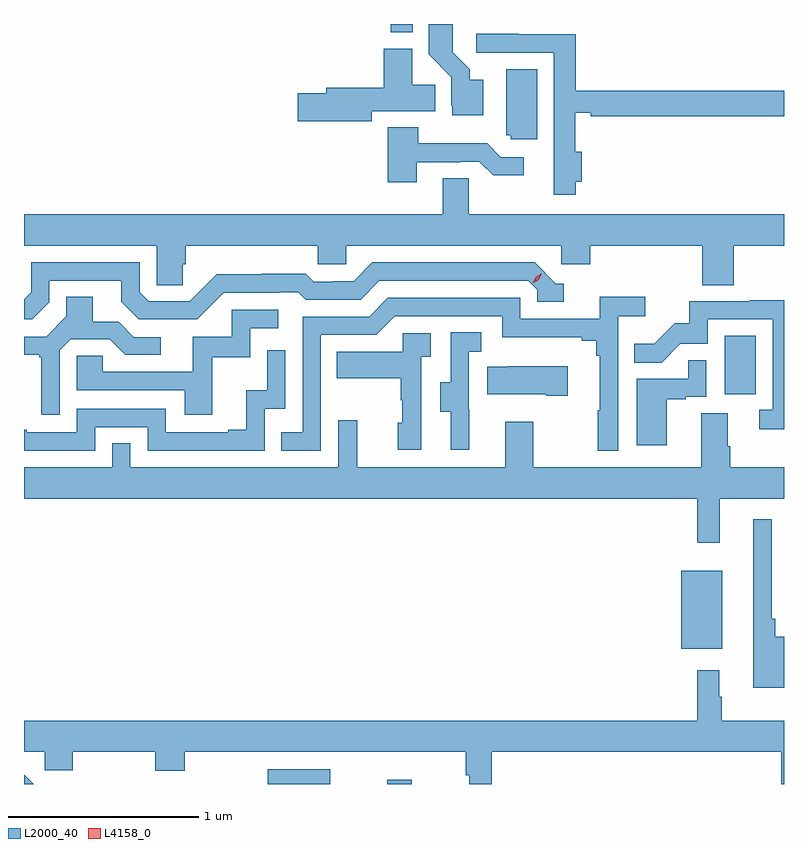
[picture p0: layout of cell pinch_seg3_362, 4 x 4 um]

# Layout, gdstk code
import gdstk
lib = gdstk.Library(unit=1e-6, precision=1e-09)
def R(c, l, rs):  # rectangles x0, y0, x1, y1
    for r in rs: c.add(gdstk.rectangle(r[:2], r[2:], *l))
def P(c, l, *ps):  # polygons
    for p in ps: c.add(gdstk.Polygon(p, *l))
L2000_40 = (2000, 40)
L4158_0 = (4158, 0)

pinch_seg3_362 = lib.new_cell('pinch_seg3_362')
R(pinch_seg3_362, L2000_40, [(995.679,695.418,996.007,695.496), (996.308,695.418,996.438,695.44), (997.856,696.131,998.071,696.541), (998.084,697.47,998.248,697.777), (996.325,699.374,996.441,699.418)])
P(pinch_seg3_362, L2000_40, [(996.814,699.124),(996.742,699.124),(996.742,699.179),(996.652,699.269),(996.652,699.418),(996.526,699.418),(996.526,699.258),(996.645,699.139),(996.645,698.988),(996.65,698.988),(996.65,698.939),(996.814,698.939)],
  [(997.301,698.588),(997.331,698.588),(997.331,698.746),(997.297,698.746),(997.297,698.951),(997.378,698.951),(997.378,698.932),(998.396,698.932),(998.396,699.068),(997.301,699.068),(997.301,699.363),(997.001,699.363),(997.001,699.366),(996.777,699.366),(996.777,699.267),(997.185,699.267),(997.185,698.742),(997.184,698.742),(997.184,698.52),(997.301,698.52)],
  [(996.226,698.96),(996.56,698.96),(996.56,699.098),(996.439,699.098),(996.439,699.289),(996.29,699.289),(996.29,699.083),(995.987,699.083),(995.987,699.053),(995.838,699.053),(995.838,698.906),(996.226,698.906)],
  [(997.096,699.181),(996.935,699.181),(996.935,698.832),(996.957,698.832),(996.957,698.811),(997.096,698.811)],
  [(996.463,698.691),(996.692,698.691),(996.692,698.694),(996.792,698.694),(996.865,698.621),(997.027,698.621),(997.027,698.718),(996.906,698.718),(996.833,698.791),(996.471,698.791),(996.471,698.875),(996.311,698.875),(996.311,698.586),(996.463,698.586)],
  [(995.231,698.154),(995.246,698.154),(995.246,698.252),(995.943,698.252),(995.943,698.154),(996.093,698.154),(996.093,698.252),(997.224,698.252),(997.224,698.154),(997.376,698.154),(997.376,698.252),(997.967,698.252),(997.967,698.044),(998.132,698.044),(998.132,698.252),(998.396,698.252),(998.396,698.416),(996.738,698.416),(996.738,698.606),(996.599,698.606),(996.599,698.416),(994.396,698.416),(994.396,698.252),(995.094,698.252),(995.094,698.044),(995.231,698.044)],
  [(994.53,697.953),(994.53,698.067),(994.907,698.067),(994.907,697.957),(995.001,697.863),(995.307,697.863),(995.448,698.004),(995.741,698.004),(995.741,698.007),(995.84,698.007),(995.879,697.968),(996.168,697.968),(996.267,698.067),(997.05,698.067),(997.098,698.019),(997.098,697.956),(997.237,697.956),(997.237,698.052),(997.194,698.052),(997.083,698.163),(996.23,698.163),(996.131,698.064),(996.024,698.064),(996.024,698.061),(995.921,698.061),(995.879,698.104),(995.646,698.104),(995.646,698.101),(995.41,698.101),(995.268,697.959),(995.052,697.959),(995.004,698.007),(995.004,698.163),(994.434,698.163),(994.434,698.007),(994.396,697.969),(994.396,697.863),(994.44,697.863)],
  [(994.584,697.701),(994.641,697.758),(994.847,697.758),(994.928,697.677),(995.116,697.677),(995.116,697.77),(994.974,697.77),(994.894,697.85),(994.759,697.85),(994.759,697.982),(994.619,697.982),(994.619,697.88),(994.512,697.773),(994.396,697.773),(994.396,697.676),(994.476,697.676),(994.476,697.665),(994.487,697.665),(994.487,697.362),(994.584,697.362)],
  [(995.958,697.782),(996.249,697.782),(996.348,697.881),(996.912,697.881),(996.912,697.769),(997.331,697.769),(997.331,697.75),(997.408,697.75),(997.408,697.673),(997.427,697.673),(997.427,697.385),(997.416,697.385),(997.416,697.173),(997.524,697.173),(997.524,697.88),(997.666,697.88),(997.666,697.982),(997.427,697.982),(997.427,697.866),(997.008,697.866),(997.008,697.977),(996.311,697.977),(996.212,697.878),(995.862,697.878),(995.862,697.269),(995.749,697.269),(995.749,697.173),(995.958,697.173)],
  [(998.396,697.964),(998.215,697.964),(998.215,697.959),(997.897,697.959),(997.897,697.842),(997.82,697.842),(997.713,697.735),(997.609,697.735),(997.609,697.636),(997.753,697.636),(997.851,697.734),(997.995,697.734),(997.995,697.863),(998.337,697.863),(998.337,697.389),(998.265,697.389),(998.265,697.284),(998.396,697.284)],
  [(995.387,697.665),(995.586,697.665),(995.586,697.818),(995.734,697.818),(995.734,697.914),(995.49,697.914),(995.49,697.773),(995.285,697.773),(995.285,697.587),(994.811,697.587),(994.811,697.671),(994.674,697.671),(994.674,697.491),(995.243,697.491),(995.243,697.362),(995.387,697.362)],
  [(996.74,697.389),(996.738,697.389),(996.738,697.693),(996.802,697.693),(996.802,697.796),(996.642,697.796),(996.642,697.533),(996.587,697.533),(996.587,697.378),(996.641,697.378),(996.641,697.176),(996.74,697.176)],
  [(996.486,697.667),(996.538,697.667),(996.538,697.791),(996.39,697.791),(996.39,697.693),(996.043,697.693),(996.043,697.553),(996.378,697.553),(996.378,697.439),(996.388,697.439),(996.388,697.32),(996.362,697.32),(996.362,697.176),(996.486,697.176)],
  [(994.77,697.296),(995.046,697.296),(995.046,697.173),(995.664,697.173),(995.664,697.392),(995.772,697.392),(995.772,697.702),(995.676,697.702),(995.676,697.49),(995.567,697.49),(995.567,697.282),(995.471,697.282),(995.471,697.269),(995.142,697.269),(995.142,697.392),(994.674,697.392),(994.674,697.269),(994.411,697.269),(994.411,697.282),(994.396,697.282),(994.396,697.173),(994.77,697.173)],
  [(997.78,697.443),(997.88,697.443),(997.88,697.455),(997.986,697.455),(997.986,697.649),(997.891,697.649),(997.891,697.551),(997.622,697.551),(997.622,697.2),(997.78,697.2)],
  [(997.258,697.618),(996.943,697.618),(996.943,697.615),(996.835,697.615),(996.835,697.469),(997.145,697.469),(997.145,697.462),(997.258,697.462)],
  [(998.101,697.196),(998.101,697.37),(997.961,697.37),(997.961,697.084),(997.077,697.084),(997.077,697.324),(996.929,697.324),(996.929,697.084),(996.149,697.084),(996.149,697.333),(996.051,697.333),(996.051,697.084),(994.956,697.084),(994.956,697.211),(994.86,697.211),(994.86,697.084),(994.396,697.084),(994.396,696.92),(997.939,696.92),(997.939,696.687),(998.057,696.687),(998.057,696.92),(998.396,696.92),(998.396,697.084),(998.114,697.084),(998.114,697.196)],
  [(998.396,696.193),(998.351,696.193),(998.351,696.289),(998.331,696.289),(998.331,696.811),(998.234,696.811),(998.234,695.924),(998.396,695.924)],
  [(996.857,695.588),(998.381,695.588),(998.381,695.418),(998.396,695.418),(998.396,695.752),(998.068,695.752),(998.068,695.876),(998.056,695.876),(998.056,696.016),(997.939,696.016),(997.939,695.752),(994.396,695.752),(994.396,695.588),(994.506,695.588),(994.506,695.49),(994.653,695.49),(994.653,695.588),(995.086,695.588),(995.086,695.489),(995.241,695.489),(995.241,695.588),(996.721,695.588),(996.721,695.465),(996.74,695.465),(996.74,695.418),(996.857,695.418)],
  [(994.396,695.468),(994.396,695.418),(994.446,695.418)])
P(pinch_seg3_362, L4158_0, [(997.074,698.053),(997.074,698.053),(997.089,698.086),(997.12,698.106),(997.12,698.106),(997.12,698.106),(997.104,698.073),(997.074,698.053)])

lib.write_gds('pinch_seg3_362.gds')
